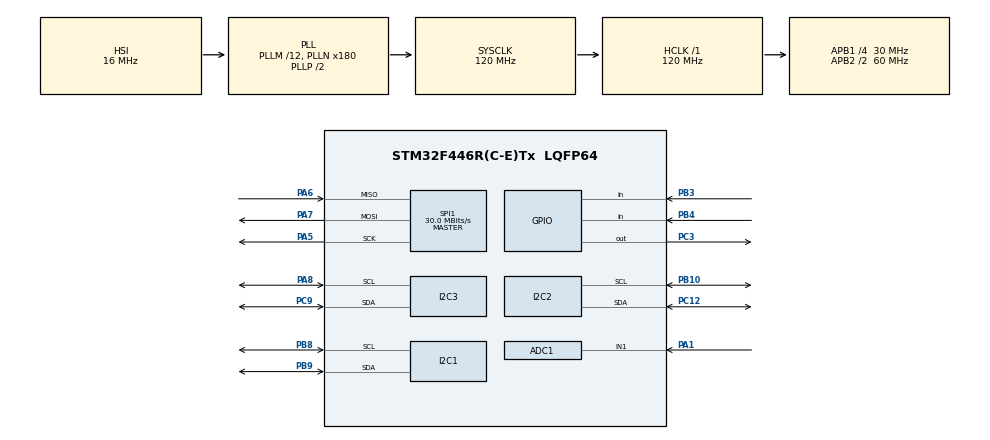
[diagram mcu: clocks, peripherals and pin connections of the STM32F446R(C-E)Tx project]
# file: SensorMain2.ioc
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ADC1.Channel-0\#ChannelRegularConversion=ADC_CHANNEL_1
ADC1.NbrOfConversionFlag=1
ADC1.Rank-0\#ChannelRegularConversion=1
ADC1.SamplingTime-0\#ChannelRegularConversion=ADC_SAMPLETIME_3CYCLES
ADC1.master=1
FATFS._MAX_SS=4096
FATFS._USE_LFN=1
I2C1.I2C_Mode=I2C_Fast
I2C3.I2C_Mode=I2C_Fast
Mcu.Family=STM32F4
Mcu.Name=STM32F446R(C-E)Tx
Mcu.Package=LQFP64
NVIC.PriorityGroup=NVIC_PRIORITYGROUP_4
PA1.Signal=ADCx_IN1
PA13.Mode=Serial_Wire
PA13.Signal=SYS_JTMS-SWDIO
PA14.Mode=Serial_Wire
PA14.Signal=SYS_JTCK-SWCLK
PA5.Mode=Full_Duplex_Master
PA5.Signal=SPI1_SCK
PA6.Mode=Full_Duplex_Master
PA6.Signal=SPI1_MISO
PA7.Mode=Full_Duplex_Master
PA7.Signal=SPI1_MOSI
PA8.Mode=I2C
PA8.Signal=I2C3_SCL
PB10.Mode=I2C
PB10.Signal=I2C2_SCL
PB3.Signal=GPIO_Input
PB4.Signal=GPIO_Input
PB8.Mode=I2C
PB8.Signal=I2C1_SCL
PB9.Mode=I2C
PB9.Signal=I2C1_SDA
PC12.Mode=I2C
PC12.Signal=I2C2_SDA
PC3.Signal=GPIO_Output
PC9.Mode=I2C
PC9.Signal=I2C3_SDA
PH0-OSC_IN.Mode=HSE-External-Oscillator
PH0-OSC_IN.Signal=RCC_OSC_IN
PH1-OSC_OUT.Mode=HSE-External-Oscillator
PH1-OSC_OUT.Signal=RCC_OSC_OUT
ProjectManager.HeapSize=0x200
ProjectManager.StackSize=0x400
ProjectManager.TargetToolchain=STM32CubeIDE
RCC.AHBFreq_Value=120000000
RCC.APB1CLKDivider=RCC_HCLK_DIV4
RCC.APB1Freq_Value=30000000
RCC.APB1TimFreq_Value=60000000
RCC.APB2CLKDivider=RCC_HCLK_DIV2
RCC.APB2Freq_Value=60000000
RCC.APB2TimFreq_Value=120000000
RCC.CortexFreq_Value=120000000
RCC.HCLKFreq_Value=120000000
RCC.HSE_VALUE=24000000
RCC.PLLM=12
RCC.PLLN=180
RCC.SYSCLKFreq_VALUE=120000000
RCC.SYSCLKSource=RCC_SYSCLKSOURCE_PLLCLK
RCC.USBFreq_Value=120000000
RCC.VCOOutputFreq_Value=240000000
SH.ADCx_IN1.0=ADC1_IN1,IN1
SPI1.BaudRatePrescaler=SPI_BAUDRATEPRESCALER_2
SPI1.CalculateBaudRate=30.0 MBits/s
SPI1.Direction=SPI_DIRECTION_2LINES
SPI1.Mode=SPI_MODE_MASTER
SPI1.VirtualType=VM_MASTER
VP_FATFS_VS_Generic.Mode=User_defined
board=custom

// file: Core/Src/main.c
/* USER CODE BEGIN Header */
/**
  ******************************************************************************
  * @file           : main.c
  * @brief          : Main program body
  * @author         : Mahdi Shahsavar
  ******************************************************************************
  * @attention
  *
  * Copyright (c) 2022
  * All rights reserved.

  *
  ******************************************************************************
  */
/* USER CODE END Header */
#include "main.h"
#include "fatfs.h"
#include "ssd1306.h"
#include "stdio.h"
#include "string.h"

/* USER CODE BEGIN PD */

FATFS fs;
FIL fil;
FRESULT res;
UINT byteswritten;
/* USER CODE END PD */

 ADC_HandleTypeDef hadc1;

I2C_HandleTypeDef hi2c1;
I2C_HandleTypeDef hi2c2;
I2C_HandleTypeDef hi2c3;

SPI_HandleTypeDef hspi1;

void SystemClock_Config(void);
static void MX_GPIO_Init(void);
static void MX_ADC1_Init(void);
static void MX_I2C1_Init(void);
static void MX_I2C2_Init(void);
static void MX_I2C3_Init(void);
static void MX_SPI1_Init(void);

int main(void)
{

  /* MCU Configuration--------------------------------------------------------*/

  /* Reset of all peripherals, Initializes the Flash interface and the Systick. */
  HAL_Init();

  /* Configure the system clock */
  SystemClock_Config();

  /* Initialize all configured peripherals */
  MX_GPIO_Init();
  MX_ADC1_Init();
  MX_I2C1_Init();
  MX_I2C2_Init();
  MX_I2C3_Init();
  MX_SPI1_Init();
  MX_FATFS_Init();
  /* USER CODE BEGIN 2 */
  HAL_Delay(500);
  f_mount(&fs, "", 0);
  f_open(&fil, "write.txt", FA_OPEN_ALWAYS | FA_WRITE | FA_READ);

  f_lseek(&fil, 10);

  ssd1306_Init();
    //ssd1306_Fill(White);
    ssd1306_SetCursor(5,5);
    char retVal= ssd1306_WriteString("Hellos", Font_7x10, White);
    ssd1306_UpdateScreen();
    /* USER CODE END 2 */
  #define D2R 0.01745329252 //Degree To Radian Constant

  #define MPU6050_ADDR 0xD0 //Already Left Shifted
  #define CONFIG_REG 0x1A
  #define GYRO_CONFIG_REG 0x1B
  #define ACCEL_CONFIG_REG 0x1C
  #define SMPLRT_DIV_REG 0x19
  #define INT_PIN_CFG 0x37
  #define INT_ENABLE_REG 0x38
  #define INT_STATUS_REG 0x3A
  #define ACCEL_XOUT_H_REG 0x3B
  #define TEMP_OUT_H_REG 0x41
  #define GYRO_XOUT_H_REG 0x43
  #define USER_CTRL_REG 0x6A
  #define PWR_MGMT_1_REG 0x6B
  #define WHO_AM_I_REG 0x75

  /////////////////////////////////////
  #define HMC5883L_ADDRESS              0x3C //  Left Shifted
  #define HMC5883L_ADDRESS_R              0x1E // Not Left Shifted
  #define HMC5883L_REG_CONFIG_A         (0x00)
  #define HMC5883L_REG_CONFIG_B         (0x01)
  #define HMC5883L_REG_MODE             (0x02)
  #define HMC5883L_REG_OUT_X_M          (0x03)
  #define HMC5883L_REG_OUT_X_L          (0x04)
  #define HMC5883L_REG_OUT_Z_M          (0x05)
  #define HMC5883L_REG_OUT_Z_L          (0x06)
  #define HMC5883L_REG_OUT_Y_M          (0x07)
  #define HMC5883L_REG_OUT_Y_L          (0x08)
  #define HMC5883L_REG_STATUS           (0x09)
  #define HMC5883L_REG_IDENT_A          (0x0A)
  #define HMC5883L_REG_IDENT_B          (0x0B)
  #define HMC5883L_REG_IDENT_C          (0x0C)

    uint8_t MPU6050_rx=0;
    uint8_t MPU6050_rx_buf[20];
    uint8_t MPU6050_tx;
    float MPU6050_Gyro_LSB = 32.8;
    float MPU6050_Acc_LSB = 4096.0;

    float accel_x_g;
    float accel_y_g;
    float accel_z_g;
    float mpu_temp_c;
    float gyro_x_rad;
    float gyro_y_rad;
    float gyro_z_rad;
    float magn_x_gs;
    float magn_y_gs;
    float magn_z_gs;
    float pressure_float;
    float baro_temp_float;
    int g_h;
    float g_lf;
    int g_l;
    uint8_t tx;
    char str[10];char str1[10];char str2[10];char str3[10];char str4[10];char str5[10];char str6[10];char str7[10];char str8[10];char str9[10];char str10[10];
  // configure the MPU6050 (gyro/accelerometer)

    tx = 0;
    HAL_I2C_Mem_Write(&hi2c1, MPU6050_ADDR, PWR_MGMT_1_REG, 1, &tx, 1, 100);
    HAL_Delay(10);

    tx = 0x07; // Set No Sampling
    HAL_I2C_Mem_Write(&hi2c1, MPU6050_ADDR, SMPLRT_DIV_REG, 1, &tx, 1, 100);
    HAL_Delay(10);

    tx = 5; // Digital Low Pass Filter Setting
    HAL_I2C_Mem_Write(&hi2c1, MPU6050_ADDR, CONFIG_REG, 1, &tx, 1, 100);
    HAL_Delay(10);

    tx=0x00;
  	HAL_I2C_Mem_Write(&hi2c1, MPU6050_ADDR, 0x6B, 1, &tx, 1, 100); // exit sleep
  	HAL_Delay(10);

  	tx=109;
  	HAL_I2C_Mem_Write(&hi2c1, MPU6050_ADDR, 0x19, 1, &tx, 1, 100); // sample rate = 8kHz / 110 = 72.7Hz
  	HAL_Delay(10);

  	tx=0x18;
  	HAL_I2C_Mem_Write(&hi2c1, MPU6050_ADDR, 0x1B, 1, &tx, 1, 100); // gyro full scale = +/- 2000dps
  	HAL_Delay(10);

  	tx=0x08;
  	HAL_I2C_Mem_Write(&hi2c1, MPU6050_ADDR, 0x1C, 1, &tx, 1, 100); // accelerometer full scale = +/- 4g
  	HAL_Delay(10);

  	tx=0x01;
  	HAL_I2C_Mem_Write(&hi2c1, MPU6050_ADDR, 0x38, 1, &tx, 1, 100); // enable INTA interrupt
  	HAL_Delay(10);

  // configure the HMC5883L (magnetometer)
  	tx=0x00;
  	HAL_I2C_Mem_Write(&hi2c1, MPU6050_ADDR, 0x6A, 1, &tx, 1, 100); // disable i2c master mode
  	HAL_Delay(10);
  	tx=0x02;
  	HAL_I2C_Mem_Write(&hi2c1, MPU6050_ADDR, 0x37, 1, &tx, 1, 100); // enable i2c master bypass mode
  	HAL_Delay(10);
  	tx=0x18;
  	HAL_I2C_Mem_Write(&hi2c1, HMC5883L_ADDRESS , 0x00, 1, &tx, 1, 100); // sample rate = 75Hz
  	HAL_Delay(10);
  	tx=0x60;
  	HAL_I2C_Mem_Write(&hi2c1, HMC5883L_ADDRESS , 0x01, 1, &tx, 1, 100); // full scale = +/- 2.5 Gauss ////*
  	HAL_Delay(10);
  	tx=0x00;
  	HAL_I2C_Mem_Write(&hi2c1, HMC5883L_ADDRESS , 0x02, 1, &tx, 1, 100); // continuous measurement mode
  	HAL_Delay(10);
	tx=0x00;
  	HAL_I2C_Mem_Write(&hi2c1, MPU6050_ADDR, 0x6B, 1, &tx, 1, 100); // exit sleep
  	HAL_Delay(10);
  	tx=0x00;
  	HAL_I2C_Mem_Write(&hi2c1, MPU6050_ADDR, 0x37, 1, &tx, 1, 100); // disable i2c master bypass mode
  	HAL_Delay(10);
	tx=0x00;
  	HAL_I2C_Mem_Write(&hi2c1, MPU6050_ADDR, 0x6B, 1, &tx, 1, 100); // exit sleep
  	HAL_Delay(10);
  	tx=0x22;
  	HAL_I2C_Mem_Write(&hi2c1, MPU6050_ADDR, 0x6A, 1, &tx, 1, 100); // enable i2c master mode
  	HAL_Delay(10);
  	tx=0b00001101;
	HAL_I2C_Mem_Write(&hi2c1, MPU6050_ADDR, 0x24, 1, &tx , 1, 100); //Master Clock to 400kHz
	HAL_Delay(10);
	tx=0x00;
  	HAL_I2C_Mem_Write(&hi2c1, MPU6050_ADDR, 0x6B, 1, &tx, 1, 100); // exit sleep
  	HAL_Delay(10);

  // configure the MPU6050 to automatically read the magnetometer
  	tx= 0b10011110;
  	HAL_I2C_Mem_Write(&hi2c1, MPU6050_ADDR, 0x25, 1, &tx , 1, 100); // slave 0 i2c address, read mode
  	HAL_Delay(10);
  	tx=0x03;
  	HAL_I2C_Mem_Write(&hi2c1, MPU6050_ADDR, 0x26, 1, &tx, 1, 100); // slave 0 register = 0x03 (x axis)
  	HAL_Delay(10);
  	tx= 0b10000110;
  	HAL_I2C_Mem_Write(&hi2c1, MPU6050_ADDR, 0x27, 1, &tx ,  1, 100); // slave 0 transfer size = 6, enabled
  	HAL_Delay(10);
  //	tx
  //	HAL_I2C_Mem_Write(&hi2c1, MPU6050_ADDR, 0x67, 1, 1 , 1, 100); // enable slave 0 delay //*
  //	HAL_Delay(10);

    	uint8_t rx_buffer[20];
    /* Infinite loop */
    /* USER CODE BEGIN WHILE */
    	int count=0;
    	HAL_GPIO_WritePin(GPIOC, GPIO_PIN_3,GPIO_PIN_SET);
    while (1)
    {
      /* USER CODE END WHILE */

  	  	uint8_t rx_buffer[20];
  	  	HAL_I2C_Mem_Read(&hi2c1, MPU6050_ADDR,0x3B, 1, rx_buffer,20,100);

  	  	// extract the raw values
  	  	int16_t  accel_x  = rx_buffer[0]  << 8 | rx_buffer[1];
  	  	int16_t  accel_y  = rx_buffer[2]  << 8 | rx_buffer[3];
  	  	int16_t  accel_z  = rx_buffer[4]  << 8 | rx_buffer[5];
  	  	int16_t  mpu_temp = rx_buffer[6]  << 8 | rx_buffer[7];
  	  	int16_t  gyro_x   = rx_buffer[8]  << 8 | rx_buffer[9];
  	  	int16_t  gyro_y   = rx_buffer[10] << 8 | rx_buffer[11];
  	  	int16_t  gyro_z   = rx_buffer[12] << 8 | rx_buffer[13];
  	  	int16_t  magn_x   = rx_buffer[14] << 8 | rx_buffer[15];
  	  	int16_t  magn_y   = rx_buffer[16] << 8 | rx_buffer[17];
  	  	int16_t  magn_z   = rx_buffer[18] << 8 | rx_buffer[19];

  	  // convert accelerometer readings into G's
  	  	accel_x_g = accel_x / 8192.0f;
  	  	accel_y_g = accel_y / 8192.0f;
  	  	accel_z_g = accel_z / 8192.0f;

  	  	// convert temperature reading into degrees Celsius
  	  	mpu_temp_c = mpu_temp / 340.0f + 36.53f;

  	  	// convert gyro readings into Radians per second
  	  	gyro_x_rad = gyro_x / 939.650784f;
  	  	gyro_y_rad = gyro_y / 939.650784f;
  	  	gyro_z_rad = gyro_z / 939.650784f;

  	  	// convert magnetometer readings into Gauss's
  	  	magn_x_gs = magn_x / 660.0f;
  	  	magn_y_gs = magn_y / 660.0f;
  	  	magn_z_gs = magn_z / 660.0f;

  	  g_h=accel_x_g;
  	  g_lf=accel_x_g-g_h;
  	  g_l= trunc(g_lf*1000);
  	  sprintf(str, "%d.%d", g_h,g_l);

  	  g_h=accel_y_g;
  	  g_lf=accel_y_g-g_h;
  	  g_l= trunc(g_lf*1000);
  	  sprintf(str2,"%d.%d", g_h,g_l);

  	  g_h=accel_z_g;
  	  g_lf=accel_z_g-g_h;
  	  g_l= trunc(g_lf*1000);
  	  sprintf(str3, "%d.%d", g_h,g_l);

  	  g_h=gyro_x_rad;
  	  g_lf=gyro_x_rad-g_h;
  	  g_l= trunc(g_lf*1000);
  	  sprintf(str4, "%d.%d", g_h,g_l);

  	  g_h=gyro_y_rad;
  	  g_lf=gyro_y_rad-g_h;
  	  g_l= trunc(g_lf*1000);
  	  sprintf(str5, "%d.%d", g_h,g_l);

  	  g_h=gyro_z_rad;
  	  g_lf=gyro_z_rad-g_h;
  	  g_l= trunc(g_lf*1000);
  	  sprintf(str6, "%d.%d", g_h,g_l);

  	  g_h=magn_x;
  	  g_lf=magn_x-g_h;
  	  g_l= trunc(g_lf*1000);
  	  sprintf(str7, "%d.%d", g_h,g_l);

  	  g_h=magn_y;
  	  g_lf=magn_y-g_h;
  	  g_l= trunc(g_lf*1000);
  	  sprintf(str8, "%d.%d", g_h,g_l);

  	  g_h=magn_z;
  	  g_lf=magn_z-g_h;
  	  g_l= trunc(g_lf*1000);
  	  sprintf(str9, "%d.%d", g_h,g_l);

  	  g_h=mpu_temp_c;
  	  g_lf=mpu_temp_c-g_h;
  	  g_l= trunc(g_lf*1000);
  	  sprintf(str10, "%d.%d", g_h,g_l);

  	  f_puts(str , &fil);
  	  f_puts("  ", &fil);
  	  f_puts(str2 , &fil);
  	  f_puts("  ", &fil);
  	  f_puts(str3 , &fil);
  	  f_puts( "  ", &fil);
  	  f_puts(str4 , &fil);
  	  f_puts("  ", &fil);
  	  f_puts(str5 , &fil);
  	  f_puts("  ", &fil);
  	  f_puts(str6 , &fil);
  	  f_puts( "  ", &fil);
  	  f_puts(str7 , &fil);
  	  f_puts("  ", &fil);
  	  f_puts(str8 , &fil);
  	  f_puts("  ", &fil);
  	  f_puts(str9 , &fil);
  	  f_puts( "  ", &fil);
  	  f_puts(str10 , &fil);
  	  f_puts( "  ", &fil);
  	  f_puts( "\n", &fil);

  	  ssd1306_SetCursor(0,15);
  	  retVal= ssd1306_WriteString(str2, Font_7x10, White);
  	  ssd1306_UpdateScreen();
      /* USER CODE BEGIN 3 */
  	  count++;
  	  if (count>5000){
  		f_close(&fil);
  		HAL_GPIO_WritePin(GPIOC, GPIO_PIN_3,GPIO_PIN_RESET);
  		break;
  	  }
    }
    /* USER CODE END 3 */

  }

void SystemClock_Config(void)
{
  RCC_OscInitTypeDef RCC_OscInitStruct = {0};
  RCC_ClkInitTypeDef RCC_ClkInitStruct = {0};

  /** Configure the main internal regulator output voltage
  */
  __HAL_RCC_PWR_CLK_ENABLE();
  __HAL_PWR_VOLTAGESCALING_CONFIG(PWR_REGULATOR_VOLTAGE_SCALE3);

  /** Initializes the RCC Oscillators according to the specified parameters
  * in the RCC_OscInitTypeDef structure.
  */
  RCC_OscInitStruct.OscillatorType = RCC_OSCILLATORTYPE_HSI;
  RCC_OscInitStruct.HSIState = RCC_HSI_ON;
  RCC_OscInitStruct.HSICalibrationValue = RCC_HSICALIBRATION_DEFAULT;
  RCC_OscInitStruct.PLL.PLLState = RCC_PLL_ON;
  RCC_OscInitStruct.PLL.PLLSource = RCC_PLLSOURCE_HSI;
  RCC_OscInitStruct.PLL.PLLM = 12;
  RCC_OscInitStruct.PLL.PLLN = 180;
  RCC_OscInitStruct.PLL.PLLP = RCC_PLLP_DIV2;
  RCC_OscInitStruct.PLL.PLLQ = 2;
  RCC_OscInitStruct.PLL.PLLR = 2;
  if (HAL_RCC_OscConfig(&RCC_OscInitStruct) != HAL_OK)
  {
    Error_Handler();
  }

  /** Initializes the CPU, AHB and APB buses clocks
  */
  RCC_ClkInitStruct.ClockType = RCC_CLOCKTYPE_HCLK|RCC_CLOCKTYPE_SYSCLK
                              |RCC_CLOCKTYPE_PCLK1|RCC_CLOCKTYPE_PCLK2;
  RCC_ClkInitStruct.SYSCLKSource = RCC_SYSCLKSOURCE_PLLCLK;
  RCC_ClkInitStruct.AHBCLKDivider = RCC_SYSCLK_DIV1;
  RCC_ClkInitStruct.APB1CLKDivider = RCC_HCLK_DIV4;
  RCC_ClkInitStruct.APB2CLKDivider = RCC_HCLK_DIV2;

  if (HAL_RCC_ClockConfig(&RCC_ClkInitStruct, FLASH_LATENCY_3) != HAL_OK)
  {
    Error_Handler();
  }
}

static void MX_ADC1_Init(void)
{

  ADC_ChannelConfTypeDef sConfig = {0};

  /** Configure the global features of the ADC (Clock, Resolution, Data Alignment and number of conversion)
  */
  hadc1.Instance = ADC1;
  hadc1.Init.ClockPrescaler = ADC_CLOCK_SYNC_PCLK_DIV2;
  hadc1.Init.Resolution = ADC_RESOLUTION_12B;
  hadc1.Init.ScanConvMode = DISABLE;
  hadc1.Init.ContinuousConvMode = DISABLE;
  hadc1.Init.DiscontinuousConvMode = DISABLE;
  hadc1.Init.ExternalTrigConvEdge = ADC_EXTERNALTRIGCONVEDGE_NONE;
  hadc1.Init.ExternalTrigConv = ADC_SOFTWARE_START;
  hadc1.Init.DataAlign = ADC_DATAALIGN_RIGHT;
  hadc1.Init.NbrOfConversion = 1;
  hadc1.Init.DMAContinuousRequests = DISABLE;
  hadc1.Init.EOCSelection = ADC_EOC_SINGLE_CONV;
  if (HAL_ADC_Init(&hadc1) != HAL_OK)
  {
    Error_Handler();
  }

  /** Configure for the selected ADC regular channel its corresponding rank in the sequencer and its sample time.
  */
  sConfig.Channel = ADC_CHANNEL_1;
  sConfig.Rank = 1;
  sConfig.SamplingTime = ADC_SAMPLETIME_3CYCLES;
  if (HAL_ADC_ConfigChannel(&hadc1, &sConfig) != HAL_OK)
  {
    Error_Handler();
  }

}

static void MX_I2C1_Init(void)
{

  hi2c1.Instance = I2C1;
  hi2c1.Init.ClockSpeed = 400000;
  hi2c1.Init.DutyCycle = I2C_DUTYCYCLE_2;
  hi2c1.Init.OwnAddress1 = 0;
  hi2c1.Init.AddressingMode = I2C_ADDRESSINGMODE_7BIT;
  hi2c1.Init.DualAddressMode = I2C_DUALADDRESS_DISABLE;
  hi2c1.Init.OwnAddress2 = 0;
  hi2c1.Init.GeneralCallMode = I2C_GENERALCALL_DISABLE;
  hi2c1.Init.NoStretchMode = I2C_NOSTRETCH_DISABLE;
  if (HAL_I2C_Init(&hi2c1) != HAL_OK)
  {
    Error_Handler();
  }

}

static void MX_I2C2_Init(void)
{

  hi2c2.Instance = I2C2;
  hi2c2.Init.ClockSpeed = 100000;
  hi2c2.Init.DutyCycle = I2C_DUTYCYCLE_2;
  hi2c2.Init.OwnAddress1 = 0;
  hi2c2.Init.AddressingMode = I2C_ADDRESSINGMODE_7BIT;
  hi2c2.Init.DualAddressMode = I2C_DUALADDRESS_DISABLE;
  hi2c2.Init.OwnAddress2 = 0;
  hi2c2.Init.GeneralCallMode = I2C_GENERALCALL_DISABLE;
  hi2c2.Init.NoStretchMode = I2C_NOSTRETCH_DISABLE;
  if (HAL_I2C_Init(&hi2c2) != HAL_OK)
  {
    Error_Handler();
  }

}

static void MX_I2C3_Init(void)
{

  hi2c3.Instance = I2C3;
  hi2c3.Init.ClockSpeed = 400000;
  hi2c3.Init.DutyCycle = I2C_DUTYCYCLE_2;
  hi2c3.Init.OwnAddress1 = 0;
  hi2c3.Init.AddressingMode = I2C_ADDRESSINGMODE_7BIT;
  hi2c3.Init.DualAddressMode = I2C_DUALADDRESS_DISABLE;
  hi2c3.Init.OwnAddress2 = 0;
  hi2c3.Init.GeneralCallMode = I2C_GENERALCALL_DISABLE;
  hi2c3.Init.NoStretchMode = I2C_NOSTRETCH_DISABLE;
  if (HAL_I2C_Init(&hi2c3) != HAL_OK)
  {
    Error_Handler();
  }

}

static void MX_SPI1_Init(void)
{

  /* SPI1 parameter configuration*/
  hspi1.Instance = SPI1;
  hspi1.Init.Mode = SPI_MODE_MASTER;
  hspi1.Init.Direction = SPI_DIRECTION_2LINES;
  hspi1.Init.DataSize = SPI_DATASIZE_8BIT;
  hspi1.Init.CLKPolarity = SPI_POLARITY_LOW;
  hspi1.Init.CLKPhase = SPI_PHASE_1EDGE;
  hspi1.Init.NSS = SPI_NSS_SOFT;
  hspi1.Init.BaudRatePrescaler = SPI_BAUDRATEPRESCALER_2;
  hspi1.Init.FirstBit = SPI_FIRSTBIT_MSB;
  hspi1.Init.TIMode = SPI_TIMODE_DISABLE;
  hspi1.Init.CRCCalculation = SPI_CRCCALCULATION_DISABLE;
  hspi1.Init.CRCPolynomial = 10;
  if (HAL_SPI_Init(&hspi1) != HAL_OK)
  {
    Error_Handler();
  }

}

static void MX_GPIO_Init(void)
{
  GPIO_InitTypeDef GPIO_InitStruct = {0};

  /* GPIO Ports Clock Enable */
  __HAL_RCC_GPIOH_CLK_ENABLE();
  __HAL_RCC_GPIOC_CLK_ENABLE();
  __HAL_RCC_GPIOA_CLK_ENABLE();
  __HAL_RCC_GPIOB_CLK_ENABLE();

  /*Configure GPIO pin Output Level */
  HAL_GPIO_WritePin(GPIOC, GPIO_PIN_3, GPIO_PIN_RESET);

  /*Configure GPIO pin : PC3 */
  GPIO_InitStruct.Pin = GPIO_PIN_3;
  GPIO_InitStruct.Mode = GPIO_MODE_OUTPUT_PP;
  GPIO_InitStruct.Pull = GPIO_NOPULL;
  GPIO_InitStruct.Speed = GPIO_SPEED_FREQ_LOW;
  HAL_GPIO_Init(GPIOC, &GPIO_InitStruct);

  /*Configure GPIO pins : PB3 PB4 */
  GPIO_InitStruct.Pin = GPIO_PIN_3|GPIO_PIN_4;
  GPIO_InitStruct.Mode = GPIO_MODE_INPUT;
  GPIO_InitStruct.Pull = GPIO_NOPULL;
  HAL_GPIO_Init(GPIOB, &GPIO_InitStruct);

}

void Error_Handler(void)
{
  __disable_irq();
  while (1)
  {
  }
}
